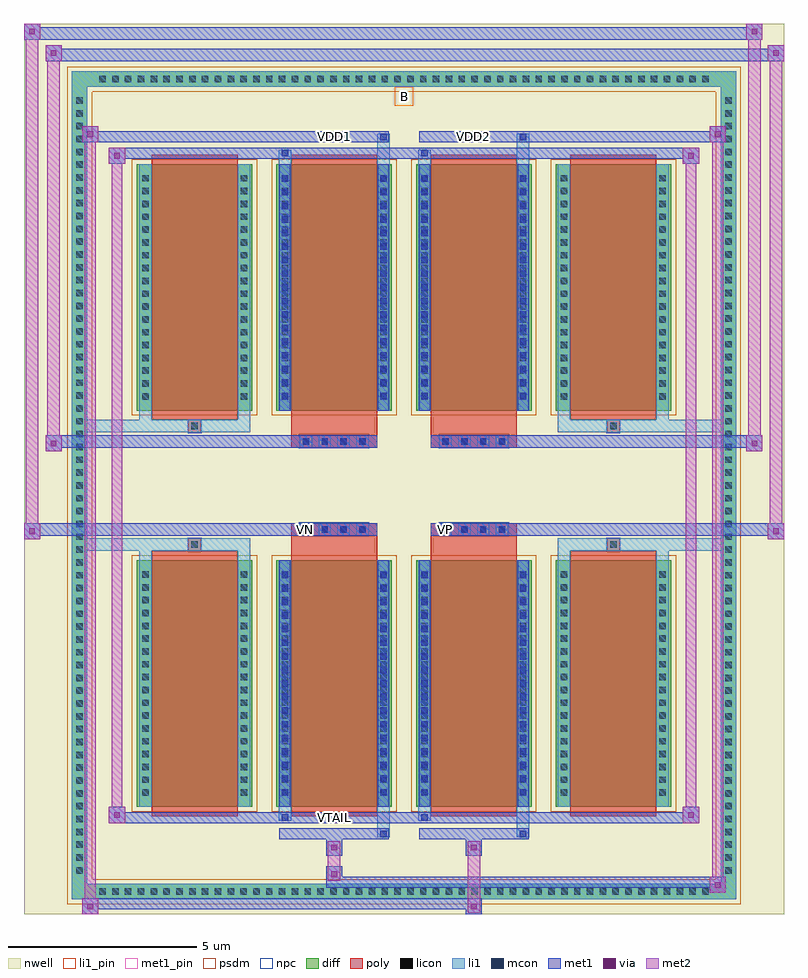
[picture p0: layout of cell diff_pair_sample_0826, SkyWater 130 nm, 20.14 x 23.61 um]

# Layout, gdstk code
import gdstk
lib = gdstk.Library(unit=1e-6, precision=5e-09)
def R(c, l, rs):  # rectangles x0, y0, x1, y1
    for r in rs: c.add(gdstk.rectangle(r[:2], r[2:], *l))
def A(c, l, x, y, w, h, nx, ny, dx, dy):  # array of equal rectangles
    R(c, l, [(x+i*dx, y+j*dy, x+i*dx+w, y+j*dy+h) for i in range(nx) for j in range(ny)])
def P(c, l, *ps):  # polygons
    for p in ps: c.add(gdstk.Polygon(p, *l))
nwell = (64, 20)
diff = (65, 20)
poly = (66, 20)
licon = (66, 44)
li1_pin = (67, 16)
li1 = (67, 20)
mcon = (67, 44)
met1_pin = (68, 16)
met1 = (68, 20)
via = (68, 44)
met2 = (69, 20)
psdm = (94, 20)
npc = (95, 20)

diff_pair_sample_0826 = lib.new_cell('diff_pair_sample_0826')
R(diff_pair_sample_0826, nwell, [(-10.07,-11.37,10.07,12.24), (-7.39,-9.56,-0.01,-0.8), (0.01,-9.56,7.39,-0.8), (-7.39,0.8,-0.01,9.56), (0.01,0.8,7.39,9.56)])
A(diff_pair_sample_0826, diff, -8.195, -10.97, 0.41, 0.41, 48, 2, 0.34, 21.53)
A(diff_pair_sample_0826, diff, -8.8, -10.405, 0.41, 0.41, 1, 61, 0, 0.34)
A(diff_pair_sample_0826, diff, 8.39, -10.405, 0.41, 0.41, 1, 61, 0, 0.34)
A(diff_pair_sample_0826, diff, -7.08, -8.515, 3.06, 6.53, 4, 2, 3.7, 10.5)
R(diff_pair_sample_0826, diff, [(-8.195,-10.97,8.195,-10.56), (-8.8,-10.405,-8.39,10.405), (8.39,-10.405,8.8,10.405), (-8.195,10.56,8.195,10.97)])
P(diff_pair_sample_0826, diff, [(8.8,10.97),(-8.8,10.97),(-8.8,-10.56),(-8.39,-10.56),(-8.39,10.56),(8.39,10.56),(8.39,-10.56),(-8.39,-10.56),(-8.8,-10.56),(-8.8,-10.97),(8.8,-10.97)])
A(diff_pair_sample_0826, poly, -6.69, -8.765, 2.28, 7.03, 4, 2, 3.7, 10.5)
A(diff_pair_sample_0826, poly, -2.765, -1.33, 0.33, 0.33, 4, 2, 0.5, 2.33)
A(diff_pair_sample_0826, poly, 0.935, -1.33, 0.33, 0.33, 4, 2, 0.5, 2.33)
R(diff_pair_sample_0826, poly, [(-5.715,-1.735,-5.385,-1.405), (-5.715,-1.735,-5.385,-1.405), (-2.99,-1.735,-0.71,-1.33), (0.71,-1.735,2.99,-1.33), (5.385,-1.735,5.715,-1.405), (5.385,-1.735,5.715,-1.405), (-2.99,-1.33,-0.71,-1), (0.71,-1.33,2.99,-1), (-2.99,1,-0.71,1.33), (0.71,1,2.99,1.33), (-2.99,1.33,-0.71,1.735), (0.71,1.33,2.99,1.735), (-5.715,1.405,-5.385,1.735), (-5.715,1.405,-5.385,1.735), (5.385,1.405,5.715,1.735), (5.385,1.405,5.715,1.735)])
A(diff_pair_sample_0826, licon, -8.075, -10.85, 0.17, 0.17, 48, 2, 0.34, 21.53)
A(diff_pair_sample_0826, licon, -8.68, -10.285, 0.17, 0.17, 1, 61, 0, 0.34)
A(diff_pair_sample_0826, licon, 8.51, -10.285, 0.17, 0.17, 1, 61, 0, 0.34)
A(diff_pair_sample_0826, licon, -6.94, -8.225, 0.17, 0.17, 1, 18, 0, 0.34)
A(diff_pair_sample_0826, licon, -4.33, -8.225, 0.17, 0.17, 1, 18, 0, 0.34)
A(diff_pair_sample_0826, licon, -3.24, -8.225, 0.17, 0.17, 1, 18, 0, 0.34)
A(diff_pair_sample_0826, licon, -0.63, -8.225, 0.17, 0.17, 1, 18, 0, 0.34)
A(diff_pair_sample_0826, licon, 0.46, -8.225, 0.17, 0.17, 1, 18, 0, 0.34)
A(diff_pair_sample_0826, licon, 3.07, -8.225, 0.17, 0.17, 1, 18, 0, 0.34)
A(diff_pair_sample_0826, licon, 4.16, -8.225, 0.17, 0.17, 1, 18, 0, 0.34)
A(diff_pair_sample_0826, licon, 6.77, -8.225, 0.17, 0.17, 1, 18, 0, 0.34)
A(diff_pair_sample_0826, licon, -2.685, -1.25, 0.17, 0.17, 4, 2, 0.5, 2.33)
A(diff_pair_sample_0826, licon, 1.015, -1.25, 0.17, 0.17, 4, 2, 0.5, 2.33)
A(diff_pair_sample_0826, licon, -6.94, 2.275, 0.17, 0.17, 1, 18, 0, 0.34)
A(diff_pair_sample_0826, licon, -4.33, 2.275, 0.17, 0.17, 1, 18, 0, 0.34)
A(diff_pair_sample_0826, licon, -3.24, 2.275, 0.17, 0.17, 1, 18, 0, 0.34)
A(diff_pair_sample_0826, licon, -0.63, 2.275, 0.17, 0.17, 1, 18, 0, 0.34)
A(diff_pair_sample_0826, licon, 0.46, 2.275, 0.17, 0.17, 1, 18, 0, 0.34)
A(diff_pair_sample_0826, licon, 3.07, 2.275, 0.17, 0.17, 1, 18, 0, 0.34)
A(diff_pair_sample_0826, licon, 4.16, 2.275, 0.17, 0.17, 1, 18, 0, 0.34)
A(diff_pair_sample_0826, licon, 6.77, 2.275, 0.17, 0.17, 1, 18, 0, 0.34)
R(diff_pair_sample_0826, licon, [(-5.635,-1.655,-5.465,-1.485), (5.465,-1.655,5.635,-1.485), (-5.635,1.485,-5.465,1.655), (5.465,1.485,5.635,1.655)])
R(diff_pair_sample_0826, li1_pin, [(-0.25,10.06,0.25,10.56)])
A(diff_pair_sample_0826, li1, -8.155, -10.93, 0.33, 0.33, 48, 2, 0.34, 21.53)
A(diff_pair_sample_0826, li1, -8.76, -10.365, 0.33, 0.33, 1, 61, 0, 0.34)
A(diff_pair_sample_0826, li1, 8.43, -10.365, 0.33, 0.33, 1, 61, 0, 0.34)
A(diff_pair_sample_0826, li1, -7.02, -8.305, 0.33, 0.33, 1, 18, 0, 0.34)
A(diff_pair_sample_0826, li1, -4.41, -8.305, 0.33, 0.33, 1, 18, 0, 0.34)
A(diff_pair_sample_0826, li1, -3.32, -8.305, 0.33, 0.33, 1, 18, 0, 0.34)
A(diff_pair_sample_0826, li1, -0.71, -8.305, 0.33, 0.33, 1, 18, 0, 0.34)
A(diff_pair_sample_0826, li1, 0.38, -8.305, 0.33, 0.33, 1, 18, 0, 0.34)
A(diff_pair_sample_0826, li1, 2.99, -8.305, 0.33, 0.33, 1, 18, 0, 0.34)
A(diff_pair_sample_0826, li1, 4.08, -8.305, 0.33, 0.33, 1, 18, 0, 0.34)
A(diff_pair_sample_0826, li1, 6.69, -8.305, 0.33, 0.33, 1, 18, 0, 0.34)
A(diff_pair_sample_0826, li1, -3.24, -8.215, 0.17, 0.17, 1, 17, 0, 0.36)
A(diff_pair_sample_0826, li1, -0.63, -8.215, 0.17, 0.17, 1, 17, 0, 0.36)
A(diff_pair_sample_0826, li1, 0.46, -8.215, 0.17, 0.17, 1, 17, 0, 0.36)
A(diff_pair_sample_0826, li1, 3.07, -8.215, 0.17, 0.17, 1, 17, 0, 0.36)
A(diff_pair_sample_0826, li1, -2.765, -1.33, 0.33, 0.33, 4, 2, 0.5, 2.33)
A(diff_pair_sample_0826, li1, 0.935, -1.33, 0.33, 0.33, 4, 2, 0.5, 2.33)
A(diff_pair_sample_0826, li1, -7.02, 2.195, 0.33, 0.33, 1, 18, 0, 0.34)
A(diff_pair_sample_0826, li1, -4.41, 2.195, 0.33, 0.33, 1, 18, 0, 0.34)
A(diff_pair_sample_0826, li1, -3.32, 2.195, 0.33, 0.33, 1, 18, 0, 0.34)
A(diff_pair_sample_0826, li1, -0.71, 2.195, 0.33, 0.33, 1, 18, 0, 0.34)
A(diff_pair_sample_0826, li1, 0.38, 2.195, 0.33, 0.33, 1, 18, 0, 0.34)
A(diff_pair_sample_0826, li1, 2.99, 2.195, 0.33, 0.33, 1, 18, 0, 0.34)
A(diff_pair_sample_0826, li1, 4.08, 2.195, 0.33, 0.33, 1, 18, 0, 0.34)
A(diff_pair_sample_0826, li1, 6.69, 2.195, 0.33, 0.33, 1, 18, 0, 0.34)
A(diff_pair_sample_0826, li1, -3.24, 2.285, 0.17, 0.17, 1, 17, 0, 0.36)
A(diff_pair_sample_0826, li1, -0.63, 2.285, 0.17, 0.17, 1, 17, 0, 0.36)
A(diff_pair_sample_0826, li1, 0.46, 2.285, 0.17, 0.17, 1, 17, 0, 0.36)
A(diff_pair_sample_0826, li1, 3.07, 2.285, 0.17, 0.17, 1, 17, 0, 0.36)
R(diff_pair_sample_0826, li1, [(-8.8,-10.97,-8.39,-10.56), (-8.8,-10.97,-8.39,-10.56), (-8.39,-10.97,8.39,-10.56), (8.39,-10.97,8.8,-10.56), (8.39,-10.97,8.8,-10.56), (-8.8,-10.56,-8.39,10.56), (8.39,-10.56,8.8,10.56), (-0.71,-9.32,-0.38,-8.515), (-0.63,-9.32,-0.46,-9.15), (2.99,-9.32,3.32,-8.515), (3.07,-9.32,3.24,-9.15), (-3.32,-8.89,-2.99,-8.515), (-3.24,-8.89,-3.07,-8.72), (0.38,-8.89,0.71,-8.515), (0.46,-8.89,0.63,-8.72), (-7.02,-8.515,-6.69,-1.985), (-4.41,-8.515,-4.08,-1.985), (-3.32,-8.515,-2.99,-1.985), (-0.71,-8.515,-0.38,-1.985), (0.38,-8.515,0.71,-1.985), (2.99,-8.515,3.32,-1.985), (4.08,-8.515,4.41,-1.985), (6.69,-8.515,7.02,-1.985), (-3.24,-8.215,-3.07,-2.285), (-0.63,-8.215,-0.46,-2.285), (0.46,-8.215,0.63,-2.285), (3.07,-8.215,3.24,-2.285), (-7.02,-1.985,-6.69,-1.405), (-4.41,-1.985,-4.08,-1.405), (4.08,-1.985,4.41,-1.405), (6.69,-1.985,7.02,-1.405), (-8.8,-1.735,-5.715,-1.405), (-7.02,-1.735,-5.715,-1.405), (-5.715,-1.735,-5.385,-1.405), (-5.385,-1.735,-4.08,-1.405), (4.08,-1.735,5.385,-1.405), (5.385,-1.735,5.715,-1.405), (5.385,-1.735,8.8,-1.405), (5.715,-1.735,7.02,-1.405), (-8.8,1.405,-5.715,1.735), (-7.02,1.405,-5.715,1.735), (-7.02,1.405,-6.69,1.985), (-5.715,1.405,-5.385,1.735), (-5.385,1.405,-4.08,1.735), (-4.41,1.405,-4.08,1.985), (4.08,1.405,5.385,1.735), (4.08,1.405,4.41,1.985), (5.385,1.405,5.715,1.735), (5.385,1.405,8.8,1.735), (5.715,1.405,7.02,1.735), (6.69,1.405,7.02,1.985), (-7.02,1.985,-6.69,8.515), (-4.41,1.985,-4.08,8.515), (-3.32,1.985,-2.99,8.515), (-0.71,1.985,-0.38,8.515), (0.38,1.985,0.71,8.515), (2.99,1.985,3.32,8.515), (4.08,1.985,4.41,8.515), (6.69,1.985,7.02,8.515), (-3.24,2.285,-3.07,8.215), (-0.63,2.285,-0.46,8.215), (0.46,2.285,0.63,8.215), (3.07,2.285,3.24,8.215), (-3.32,8.515,-2.99,8.89), (-0.71,8.515,-0.38,9.32), (0.38,8.515,0.71,8.89), (2.99,8.515,3.32,9.32), (-3.24,8.72,-3.07,8.89), (0.46,8.72,0.63,8.89), (-0.63,9.15,-0.46,9.32), (3.07,9.15,3.24,9.32), (-8.8,10.56,-8.39,10.97), (-8.8,10.56,-8.39,10.97), (-8.39,10.56,8.39,10.97), (8.39,10.56,8.8,10.97), (8.39,10.56,8.8,10.97)])
A(diff_pair_sample_0826, mcon, -3.24, -8.215, 0.17, 0.17, 1, 17, 0, 0.36)
A(diff_pair_sample_0826, mcon, -0.63, -8.215, 0.17, 0.17, 1, 17, 0, 0.36)
A(diff_pair_sample_0826, mcon, 0.46, -8.215, 0.17, 0.17, 1, 17, 0, 0.36)
A(diff_pair_sample_0826, mcon, 3.07, -8.215, 0.17, 0.17, 1, 17, 0, 0.36)
A(diff_pair_sample_0826, mcon, -2.685, -1.25, 0.17, 0.17, 4, 2, 0.5, 2.33)
A(diff_pair_sample_0826, mcon, 1.015, -1.25, 0.17, 0.17, 4, 2, 0.5, 2.33)
A(diff_pair_sample_0826, mcon, -3.24, 2.285, 0.17, 0.17, 1, 17, 0, 0.36)
A(diff_pair_sample_0826, mcon, -0.63, 2.285, 0.17, 0.17, 1, 17, 0, 0.36)
A(diff_pair_sample_0826, mcon, 0.46, 2.285, 0.17, 0.17, 1, 17, 0, 0.36)
A(diff_pair_sample_0826, mcon, 3.07, 2.285, 0.17, 0.17, 1, 17, 0, 0.36)
R(diff_pair_sample_0826, mcon, [(-0.63,-9.32,-0.46,-9.15), (3.07,-9.32,3.24,-9.15), (-3.24,-8.89,-3.07,-8.72), (0.46,-8.89,0.63,-8.72), (-3.24,8.72,-3.07,8.89), (0.46,8.72,0.63,8.89), (-0.63,9.15,-0.46,9.32), (3.07,9.15,3.24,9.32)])
R(diff_pair_sample_0826, met1_pin, [(-1.985,-8.93,-1.715,-8.66), (-2.735,-1.29,-2.465,-1.02), (0.965,-1.29,1.235,-1.02), (-1.985,9.11,-1.715,9.38), (1.715,9.11,1.985,9.38)])
A(diff_pair_sample_0826, met1, -3.3, -8.275, 0.29, 0.29, 1, 17, 0, 0.36)
A(diff_pair_sample_0826, met1, -0.69, -8.275, 0.29, 0.29, 1, 17, 0, 0.36)
A(diff_pair_sample_0826, met1, 0.4, -8.275, 0.29, 0.29, 1, 17, 0, 0.36)
A(diff_pair_sample_0826, met1, 3.01, -8.275, 0.29, 0.29, 1, 17, 0, 0.36)
A(diff_pair_sample_0826, met1, -2.745, -1.31, 0.29, 0.29, 4, 2, 0.5, 2.33)
A(diff_pair_sample_0826, met1, 0.955, -1.31, 0.29, 0.29, 4, 2, 0.5, 2.33)
A(diff_pair_sample_0826, met1, -3.3, 2.225, 0.29, 0.29, 1, 17, 0, 0.36)
A(diff_pair_sample_0826, met1, -0.69, 2.225, 0.29, 0.29, 1, 17, 0, 0.36)
A(diff_pair_sample_0826, met1, 0.4, 2.225, 0.29, 0.29, 1, 17, 0, 0.36)
A(diff_pair_sample_0826, met1, 3.01, 2.225, 0.29, 0.29, 1, 17, 0, 0.36)
R(diff_pair_sample_0826, met1, [(-8.53,-11.37,-8.1,-10.94), (1.635,-11.37,2.065,-10.94), (-8.53,-11.23,2.065,-10.94), (8.1,-10.8,8.53,-10.37), (-2.065,-10.66,8.53,-10.37), (-2.065,-10.52,-1.635,-10.09), (-2.065,-9.81,-1.635,-9.38), (1.635,-9.81,2.065,-9.38), (-3.3,-9.38,-0.4,-9.09), (-0.69,-9.38,-0.4,-9.09), (0.4,-9.38,3.3,-9.09), (3.01,-9.38,3.3,-9.09), (-7.82,-8.95,-7.39,-8.52), (-7.82,-8.95,-3.3,-8.66), (-3.3,-8.95,-3.01,-8.66), (-3.3,-8.95,-0.4,-8.66), (-0.4,-8.95,0.4,-8.66), (0.4,-8.95,0.69,-8.66), (0.4,-8.95,3.3,-8.66), (3.3,-8.95,7.82,-8.66), (7.39,-8.95,7.82,-8.52), (-3.3,-8.515,-3.01,-1.985), (-0.69,-8.515,-0.4,-1.985), (0.4,-8.515,0.69,-1.985), (3.01,-8.515,3.3,-1.985), (-10.07,-1.43,-9.64,-1), (9.64,-1.43,10.07,-1), (-10.07,-1.33,-0.71,-1), (-2.99,-1.33,-0.71,-1), (0.71,-1.33,2.99,-1), (0.71,-1.33,10.07,-1), (-9.5,0.9,-9.07,1.33), (9.07,0.9,9.5,1.33), (-9.5,1,-2.99,1.33), (-2.99,1,-0.71,1.33), (0.71,1,2.99,1.33), (2.99,1,9.5,1.33), (-3.3,1.985,-3.01,8.515), (-0.69,1.985,-0.4,8.515), (0.4,1.985,0.69,8.515), (3.01,1.985,3.3,8.515), (-7.82,8.52,-7.39,8.95), (7.39,8.52,7.82,8.95), (-7.82,8.66,-3.3,8.95), (-3.3,8.66,-3.01,8.95), (-3.3,8.66,-0.4,8.95), (-0.4,8.66,0.4,8.95), (0.4,8.66,0.69,8.95), (0.4,8.66,3.3,8.95), (3.3,8.66,7.82,8.95), (-8.53,9.09,-8.1,9.52), (-8.53,9.09,-3.3,9.38), (-3.3,9.09,-0.4,9.38), (-0.69,9.09,-0.4,9.38), (0.4,9.09,3.3,9.38), (3.01,9.09,3.3,9.38), (3.3,9.09,8.53,9.38), (8.1,9.09,8.53,9.52), (-9.5,11.24,-9.07,11.67), (-9.5,11.24,-7.39,11.57), (-7.39,11.24,7.39,11.57), (7.39,11.24,10.07,11.57), (9.64,11.24,10.07,11.67), (-10.07,11.81,-9.64,12.24), (-10.07,11.81,-7.39,12.14), (-7.39,11.81,7.39,12.14), (7.39,11.81,9.5,12.14), (9.07,11.81,9.5,12.24)])
R(diff_pair_sample_0826, via, [(-8.39,-11.23,-8.24,-11.08), (1.775,-11.23,1.925,-11.08), (8.24,-10.66,8.39,-10.51), (-1.925,-10.38,-1.775,-10.23), (-1.925,-9.67,-1.775,-9.52), (1.775,-9.67,1.925,-9.52), (-7.68,-8.81,-7.53,-8.66), (7.53,-8.81,7.68,-8.66), (-9.93,-1.29,-9.78,-1.14), (9.78,-1.29,9.93,-1.14), (-9.36,1.04,-9.21,1.19), (9.21,1.04,9.36,1.19), (-7.68,8.66,-7.53,8.81), (7.53,8.66,7.68,8.81), (-8.39,9.23,-8.24,9.38), (8.24,9.23,8.39,9.38), (-9.36,11.38,-9.21,11.53), (9.78,11.38,9.93,11.53), (-9.93,11.95,-9.78,12.1), (9.21,11.95,9.36,12.1)])
R(diff_pair_sample_0826, met2, [(-8.53,-11.37,-8.1,-10.94), (-8.46,-11.37,-8.17,9.52), (-8.17,-11.37,-8.1,-10.94), (-8.48,-11.32,-8.15,-10.99), (1.685,-11.32,2.015,-10.99), (1.685,-10.99,2.015,-9.76), (8.1,-10.8,8.53,-10.37), (8.17,-10.8,8.46,9.52), (8.46,-10.8,8.53,-10.37), (8.15,-10.75,8.48,-10.42), (-2.015,-10.47,-1.685,-10.14), (-2.015,-10.14,-1.685,-9.76), (-2.015,-9.76,-1.685,-9.43), (1.685,-9.76,2.015,-9.43), (-7.82,-8.95,-7.39,-8.52), (-7.75,-8.95,-7.46,8.95), (-7.46,-8.95,-7.39,-8.52), (7.39,-8.95,7.82,-8.52), (7.46,-8.95,7.75,8.95), (7.75,-8.95,7.82,-8.52), (-7.77,-8.9,-7.44,-8.57), (7.44,-8.9,7.77,-8.57), (-10.07,-1.43,-9.64,-1), (-10.02,-1.43,-9.69,12.24), (-9.69,-1.43,-9.64,-1), (9.64,-1.43,10.07,-1), (9.69,-1.43,10.02,11.67), (10.02,-1.43,10.07,-1), (-10.02,-1.38,-9.69,-1.05), (9.69,-1.38,10.02,-1.05), (-9.5,0.9,-9.07,1.33), (-9.45,0.9,-9.12,11.67), (-9.12,0.9,-9.07,1.33), (9.07,0.9,9.5,1.33), (9.12,0.9,9.45,12.24), (9.45,0.9,9.5,1.33), (-9.45,0.95,-9.12,1.28), (9.12,0.95,9.45,1.28), (-7.82,8.52,-7.39,8.95), (-7.46,8.52,-7.39,8.95), (7.39,8.52,7.82,8.95), (7.75,8.52,7.82,8.95), (-7.77,8.57,-7.44,8.9), (7.44,8.57,7.77,8.9), (-8.53,9.09,-8.1,9.52), (-8.17,9.09,-8.1,9.52), (8.1,9.09,8.53,9.52), (8.46,9.09,8.53,9.52), (-8.48,9.14,-8.15,9.47), (8.15,9.14,8.48,9.47), (-9.5,11.24,-9.07,11.67), (-9.12,11.24,-9.07,11.67), (9.64,11.24,10.07,11.67), (10.02,11.24,10.07,11.67), (-9.45,11.29,-9.12,11.62), (9.69,11.29,10.02,11.62), (-10.07,11.81,-9.64,12.24), (-9.69,11.81,-9.64,12.24), (9.07,11.81,9.5,12.24), (9.45,11.81,9.5,12.24), (-10.02,11.86,-9.69,12.19), (9.12,11.86,9.45,12.19)])
A(diff_pair_sample_0826, psdm, -7.21, -8.645, 3.32, 6.79, 4, 2, 3.7, 10.5)
P(diff_pair_sample_0826, psdm, [(8.93,11.1),(-8.93,11.1),(-8.93,-10.43),(-8.26,-10.43),(-8.26,10.43),(8.26,10.43),(8.26,-10.43),(-8.26,-10.43),(-8.93,-10.43),(-8.93,-11.1),(8.93,-11.1)])
A(diff_pair_sample_0826, npc, -2.785, -1.35, 0.37, 0.37, 4, 2, 0.5, 2.33)
A(diff_pair_sample_0826, npc, 0.915, -1.35, 0.37, 0.37, 4, 2, 0.5, 2.33)
R(diff_pair_sample_0826, npc, [(-5.735,-1.755,-5.365,-1.385), (5.365,-1.755,5.735,-1.385), (-2.785,-1.35,-1.915,-0.98), (-2.785,-1.35,-1.915,-0.98), (-2.285,-1.35,-1.415,-0.98), (-2.285,-1.35,-1.415,-0.98), (-1.785,-1.35,-0.915,-0.98), (-1.785,-1.35,-0.915,-0.98), (0.915,-1.35,1.785,-0.98), (0.915,-1.35,1.785,-0.98), (1.415,-1.35,2.285,-0.98), (1.415,-1.35,2.285,-0.98), (1.915,-1.35,2.785,-0.98), (1.915,-1.35,2.785,-0.98), (-2.785,0.98,-1.915,1.35), (-2.785,0.98,-1.915,1.35), (-2.285,0.98,-1.415,1.35), (-2.285,0.98,-1.415,1.35), (-1.785,0.98,-0.915,1.35), (-1.785,0.98,-0.915,1.35), (0.915,0.98,1.785,1.35), (0.915,0.98,1.785,1.35), (1.415,0.98,2.285,1.35), (1.415,0.98,2.285,1.35), (1.915,0.98,2.785,1.35), (1.915,0.98,2.785,1.35), (-5.735,1.385,-5.365,1.755), (5.365,1.385,5.735,1.755)])
diff_pair_sample_0826.add(gdstk.Label('VTAIL', (-1.85,-8.795), layer=68, texttype=5))
diff_pair_sample_0826.add(gdstk.Label('VN', (-2.6,-1.155), layer=68, texttype=5))
diff_pair_sample_0826.add(gdstk.Label('VP', (1.1,-1.155), layer=68, texttype=5))
diff_pair_sample_0826.add(gdstk.Label('B', (0,10.31), layer=67, texttype=5))
diff_pair_sample_0826.add(gdstk.Label('VDD2', (1.85,9.245), layer=68, texttype=5))
diff_pair_sample_0826.add(gdstk.Label('VDD1', (-1.85,9.245), layer=68, texttype=5))

lib.write_gds('diff_pair_sample_0826.gds')
